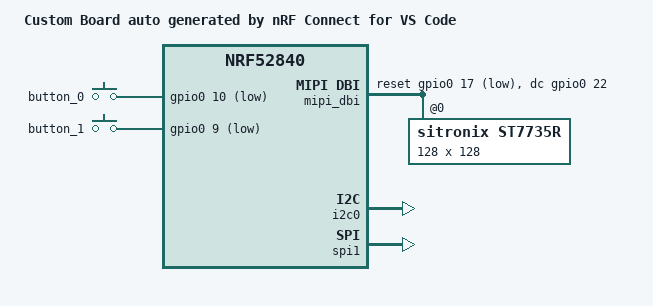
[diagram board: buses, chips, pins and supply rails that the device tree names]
/dts-v1/;
#include <nordic/nrf52840_qfaa.dtsi>
#include "cpr_board_v3-pinctrl.dtsi"
#include <zephyr/dt-bindings/mipi_dbi/mipi_dbi.h>

/ {
	model = "Custom Board auto generated by nRF Connect for VS Code";
	compatible = "jaumesudria,cpr-board-v3";

	nordic_softdevice: nordic,softdevice-controller {
        compatible = "nordic,nrf-softdevice-controller";
        status = "okay";
    };

	chosen {
		zephyr,sram = &sram0;
		zephyr,flash = &flash0;
		zephyr,code-partition = &slot0_partition;
		zephyr,console = &rtt0;
		zephyr,display = &st7735r;
		};

	rtt0: rtt_chan0 {
		compatible = "segger,rtt-uart";
		status = "okay";
	};

buttons {
	compatible = "gpio-keys";
	button0: button_0 {
		gpios = <&gpio0 10 GPIO_ACTIVE_LOW>;
		label = "button_0";
		};
	button1: button_1 {
		gpios = <&gpio0 9 GPIO_ACTIVE_LOW>;
		label = "button_1";
		};
	};

aliases {
	button0 = &button0;
	button1 = &button1;
	i2c0 = &i2c0;
	spi1 = &spi1;
	display0 = &st7735r;
	};
	mipi_dbi: mipi_dbi {
		compatible = "zephyr,mipi-dbi-spi";
		reset-gpios = <&gpio0 17 GPIO_ACTIVE_LOW>;
		dc-gpios = <&gpio0 22 GPIO_ACTIVE_HIGH>;
		spi-dev = <&spi1>;
		#address-cells = <1>;
		#size-cells = <0>;
				
	
		st7735r: st7735r@0 {
			compatible = "sitronix,st7735r";
			reg = <0>;
			label = "ST7735r";
			mipi,max-frequency = <8000000>;
			mipi-mode = <MIPI_DBI_MODE_SPI_4WIRE>;
			x-offset = <2>;     
			y-offset = <1>;
			height = <128>;
			width = <128>;
			gamctrp1 = [02 1c 07 12 37 32 29 2d 29 25 2b 39 00 01 03 10];
			gamctrn1 = [03 1d 07 06 2e 2c 29 2d 2e 2e 37 3f 00 00 02 10];
			

			// rgb-is-inverted;     
			status = "okay";
		};
	};
};


&flash0 {
	partitions {
		compatible = "fixed-partitions";
		#address-cells = <1>;
		#size-cells = <1>;

		boot_partition: partition@0 {
			label = "mcuboot";
			reg = <0x00000000 DT_SIZE_K(48)>;
		};

		slot0_partition: partition@c000 {
			label = "image-0";
			reg = <0x0000c000 DT_SIZE_K(472)>;
		};

		slot1_partition: partition@82000 {
			label = "image-1";
			reg = <0x00082000 DT_SIZE_K(472)>;
		};

		storage_partition: partition@f8000 {
			label = "storage_partition";
			reg = <0x000f8000 DT_SIZE_K(32)>;
		};
	};
};

&gpio0 {
	status = "okay";
};


&gpio1 {
	status = "okay";
};

&gpiote {
	status = "okay";
};


&i2c0 {
	status = "okay";
	pinctrl-0 = <&i2c0_default>;
	pinctrl-1 = <&i2c0_sleep>;
	pinctrl-names = "default","sleep";
};

&spi1 {
	status = "okay";
	pinctrl-0 = <&spi1_default>;
	pinctrl-1 = <&spi1_sleep>;
	pinctrl-names = "default","sleep";
	cs-gpios = <&gpio0 20 GPIO_ACTIVE_LOW>;
	
};


